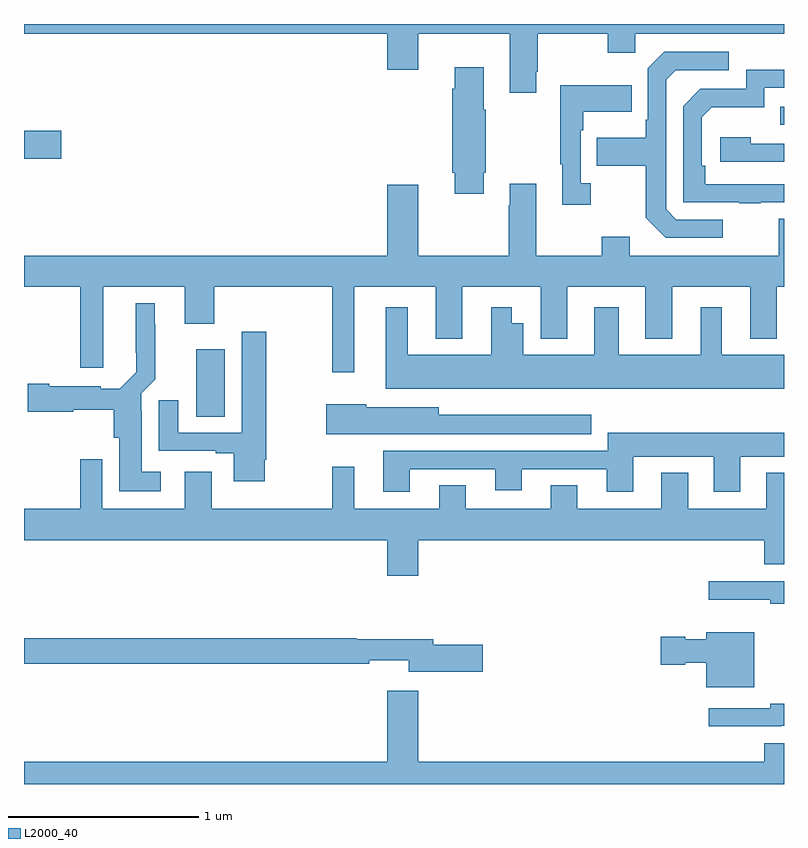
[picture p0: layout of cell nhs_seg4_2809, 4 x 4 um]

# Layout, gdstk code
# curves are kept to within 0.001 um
import gdstk
lib = gdstk.Library(unit=1e-6, precision=1e-09)
def R(c, l, rs):  # rectangles x0, y0, x1, y1
    for r in rs: c.add(gdstk.rectangle(r[:2], r[2:], *l))
def P(c, l, *ps):  # polygons
    for p in ps: c.add(gdstk.Polygon(p, *l))
L2000_40 = (2000, 40)

nhs_seg4_2809 = lib.new_cell('nhs_seg4_2809')
R(nhs_seg4_2809, L2000_40, [(259.907,766.834,260.056,767.188), (259,768.191,259.195,768.338), (262.981,768.369,263,768.465)])
P(nhs_seg4_2809, L2000_40, [(263,768.9),(259,768.9),(259,768.848),(260.912,768.848),(260.912,768.66),(261.076,768.66),(261.076,768.848),(261.557,768.848),(261.557,768.537),(261.697,768.537),(261.697,768.649),(261.705,768.649),(261.705,768.848),(262.072,768.848),(262.072,768.749),(262.218,768.749),(262.218,768.848),(263,768.848)],
  [(262.678,767.871),(262.434,767.871),(262.38,767.925),(262.38,768.606),(262.431,768.657),(262.708,768.657),(262.708,768.753),(262.371,768.753),(262.284,768.666),(262.284,768.397),(262.272,768.397),(262.272,768.301),(262.015,768.301),(262.015,768.154),(262.272,768.154),(262.272,767.881),(262.377,767.775),(262.678,767.775)],
  [(261.421,768.118),(261.429,768.118),(261.429,768.449),(261.421,768.449),(261.421,768.673),(261.266,768.673),(261.266,768.56),(261.254,768.56),(261.254,768.118),(261.266,768.118),(261.266,768.006),(261.421,768.006)],
  [(262.877,767.961),(263,767.961),(263,768.057),(262.586,768.057),(262.586,768.154),(262.566,768.154),(262.566,768.408),(262.619,768.461),(262.896,768.461),(262.896,768.564),(263,768.564),(263,768.66),(262.8,768.66),(262.8,768.558),(262.56,768.558),(262.47,768.468),(262.47,767.961),(262.765,767.961),(262.765,767.956),(262.877,767.956)],
  [(261.982,768.062),(261.93,768.062),(261.93,768.341),(261.943,768.341),(261.943,768.437),(262.199,768.437),(262.199,768.577),(261.822,768.577),(261.822,768.161),(261.833,768.161),(261.833,767.949),(261.982,767.949)],
  [(263,768.27),(262.826,768.27),(262.826,768.304),(262.665,768.304),(262.665,768.174),(263,768.174)],
  [(260.737,767.516),(261.167,767.516),(261.167,767.243),(261.307,767.243),(261.307,767.516),(261.719,767.516),(261.719,767.243),(261.859,767.243),(261.859,767.516),(262.271,767.516),(262.271,767.243),(262.411,767.243),(262.411,767.516),(262.823,767.516),(262.823,767.243),(262.963,767.243),(262.963,767.516),(263,767.516),(263,767.875),(262.973,767.875),(262.973,767.68),(262.189,767.68),(262.189,767.779),(262.041,767.779),(262.041,767.68),(261.697,767.68),(261.697,768.058),(261.557,768.058),(261.557,767.945),(261.55,767.945),(261.55,767.68),(261.076,767.68),(261.076,768.055),(260.912,768.055),(260.912,767.68),(259,767.68),(259,767.516),(259.295,767.516),(259.295,767.091),(259.417,767.091),(259.417,767.516),(259.847,767.516),(259.847,767.322),(260,767.322),(260,767.516),(260.623,767.516),(260.623,767.067),(260.737,767.067)],
  [(259.72,766.543),(259.621,766.543),(259.621,766.862),(259.617,766.862),(259.617,766.956),(259.691,767.03),(259.691,767.321),(259.687,767.321),(259.687,767.431),(259.589,767.431),(259.59,767.068),(259.503,766.981),(259.404,766.981),(259.404,766.993),(259.132,766.993),(259.132,767.006),(259.02,767.006),(259.02,766.859),(259.26,766.859),(259.26,766.871),(259.472,766.871),(259.472,766.722),(259.502,766.722),(259.502,766.442),(259.72,766.442)],
  [(263,767.158),(262.672,767.158),(262.672,767.41),(262.562,767.41),(262.562,767.158),(262.129,767.158),(262.129,767.41),(262.001,767.41),(262.001,767.158),(261.628,767.158),(261.628,767.326),(261.568,767.326),(261.568,767.41),(261.458,767.41),(261.458,767.158),(261.019,767.158),(261.019,767.41),(260.903,767.41),(260.903,766.979),(263,766.979)],
  [(260.266,766.606),(260.274,766.606),(260.274,767.281),(260.147,767.281),(260.147,766.749),(259.813,766.749),(259.813,766.921),(259.709,766.921),(259.709,766.653),(260.009,766.653),(260.009,766.641),(260.105,766.641),(260.105,766.494),(260.266,766.494)],
  [(261.985,766.843),(261.184,766.843),(261.184,766.882),(260.802,766.882),(260.802,766.9),(260.592,766.9),(260.592,766.742),(261.985,766.742)],
  [(261.031,766.557),(261.479,766.557),(261.479,766.445),(261.619,766.445),(261.619,766.557),(262.067,766.557),(262.067,766.437),(262.207,766.437),(262.207,766.622),(262.631,766.622),(262.631,766.437),(262.771,766.437),(262.771,766.622),(263,766.622),(263,766.75),(262.073,766.75),(262.073,766.653),(260.891,766.653),(260.891,766.437),(261.031,766.437)],
  [(261.076,766.184),(262.895,766.184),(262.895,766.056),(263,766.056),(263,766.537),(262.907,766.537),(262.907,766.348),(262.495,766.348),(262.495,766.537),(262.355,766.537),(262.355,766.348),(261.913,766.348),(261.913,766.472),(261.773,766.472),(261.773,766.348),(261.325,766.348),(261.325,766.472),(261.185,766.472),(261.185,766.348),(260.737,766.348),(260.737,766.57),(260.623,766.57),(260.623,766.348),(259.987,766.348),(259.987,766.543),(259.847,766.543),(259.847,766.348),(259.413,766.348),(259.413,766.609),(259.297,766.609),(259.297,766.348),(259,766.348),(259,766.184),(260.912,766.184),(260.912,765.996),(261.076,765.996)],
  [(263,765.966),(262.605,765.966),(262.605,765.869),(262.928,765.869),(262.928,765.85),(263,765.85)],
  [(262.843,765.7),(262.592,765.7),(262.592,765.661),(262.479,765.661),(262.479,765.674),(262.35,765.674),(262.35,765.527),(262.479,765.527),(262.479,765.539),(262.592,765.539),(262.592,765.41),(262.843,765.41)],
  [(261.415,765.632),(261.154,765.632),(261.154,765.661),(260.75,765.661),(260.75,765.668),(259,765.668),(259,765.532),(260.816,765.532),(260.816,765.551),(261.026,765.551),(261.026,765.49),(261.415,765.49)],
  [(263,765.114),(262.895,765.114),(262.895,765.016),(261.076,765.016),(261.076,765.391),(260.912,765.391),(260.912,765.016),(259,765.016),(259,764.9),(263,764.9)],
  [(262.985,765.207),(263,765.207),(263,765.323),(262.928,765.323),(262.928,765.3),(262.605,765.3),(262.605,765.203),(262.985,765.203)])

lib.write_gds('nhs_seg4_2809.gds')
